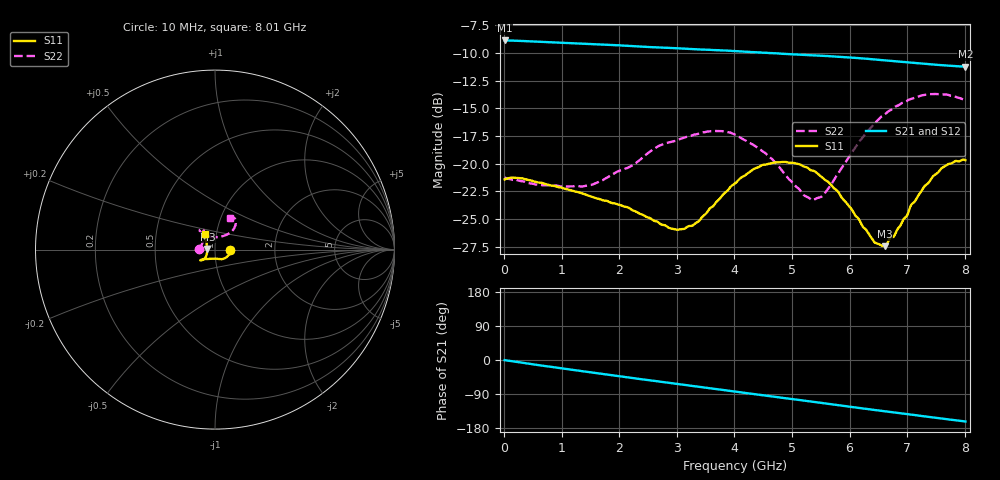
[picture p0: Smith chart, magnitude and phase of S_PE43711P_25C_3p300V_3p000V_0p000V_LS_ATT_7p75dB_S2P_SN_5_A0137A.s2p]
! Device ID: PE43711P
! File Path: z:\PE43711P\CHAR_NOM_04282014\AMB\3p300\LS_ATT_7p75dB\PE43711P_AMB_3p300V_3p000V_0p000V_LS_ATT_7p75dB_S2P_SN_5_A0137A.s2p
! Serial: 5
! Lot: A0137A
! Temp: 25C
! VDD: 3.300
! VSS: 0.000
! Control_Hi: 3.000
! Control_Lo: 0.000
! Attenuation Step: 7.75dB
! Port 1: RF1
! Port 2: RF2
! ThroughPath:1-2
! IDD: 0.0001279351
! ISS: -5.23e-008
#  Hz  S  RI  R  50
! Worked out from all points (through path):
!   801 points, 10 MHz to 8.01 GHz, reference 50 ohm
!   highest |S21| = -8.86 dB at 10 MHz (marker M1); lowest = -11.2 dB at 8.01 GHz (marker M2)
!   group delay of S21, straight-line fit = 56 ps
!   lowest |S11| = -27.5 dB at 6.61 GHz (marker M3), VSWR 1.09, Z = 45.9 + j0.29 ohm
!   |S11| at or under -10 dB: start of sweep to end of sweep
!   |S22| runs from -23.3 to -13.7 dB; largest |S21 - S12| = 0.00073
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1e7  0.0849 -0.000195  0.3607 -0.00179  0.3609 -0.00184  -0.0866 0.000665
3.1e8  0.0845 -0.0158  0.356 -0.0448  0.3563 -0.0447  -0.0831 0.0053
1.35e9  0.0556 -0.048  0.3044 -0.171  0.3046 -0.1711  -0.0712 0.0338
2.18e9  0.0332 -0.0533  0.2343 -0.2474  0.2346 -0.2475  -0.0612 0.075
2.68e9  0.0173 -0.0514  0.1847 -0.2799  0.1848 -0.2801  -0.0615 0.1031
2.99e9  0.00229 -0.0503  0.1519 -0.296  0.152 -0.2962  -0.0649 0.1091
3.28e9  -0.0142 -0.0507  0.1198 -0.307  0.1199 -0.3072  -0.0697 0.1152
3.68e9  -0.0414 -0.0526  0.0752 -0.3172  0.0751 -0.3174  -0.08 0.1155
4.01e9  -0.0615 -0.0534  0.0374 -0.3208  0.0372 -0.321  -0.0847 0.1055
4.34e9  -0.0765 -0.0559  0.000295 -0.3193  0.000232 -0.3195  -0.0762 0.094
4.69e9  -0.082 -0.0593  -0.038 -0.3133  -0.0381 -0.3132  -0.0602 0.0827
5.05e9  -0.0798 -0.0612  -0.0757 -0.3027  -0.0758 -0.3026  -0.0318 0.0732
5.35e9  -0.0727 -0.058  -0.1058 -0.2903  -0.1059 -0.2907  -0.00219 0.0685
5.56e9  -0.0653 -0.0545  -0.1261 -0.2801  -0.1261 -0.2801  0.0216 0.0698
5.8e9  -0.0568 -0.0485  -0.1483 -0.2659  -0.1484 -0.2658  0.048 0.0764
6.42e9  -0.043 -0.0117  -0.1972 -0.221  -0.1974 -0.2212  0.1019 0.1111
6.61e9  -0.0422 0.00315  -0.209 -0.2057  -0.209 -0.206  0.1095 0.1261
6.68e9  -0.044 0.0101  -0.2131 -0.2  -0.2131 -0.2003  0.112 0.1319
7.05e9  -0.0488 0.0409  -0.2321 -0.1681  -0.2319 -0.1683  0.1159 0.1575
7.45e9  -0.055 0.0685  -0.2473 -0.133  -0.2475 -0.133  0.1052 0.1777
7.7e9  -0.0578 0.0805  -0.2545 -0.1109  -0.2544 -0.1108  0.0937 0.1823
8.01e9  -0.0549 0.088  -0.2614 -0.0835  -0.2616 -0.0828  0.0824 0.1746
